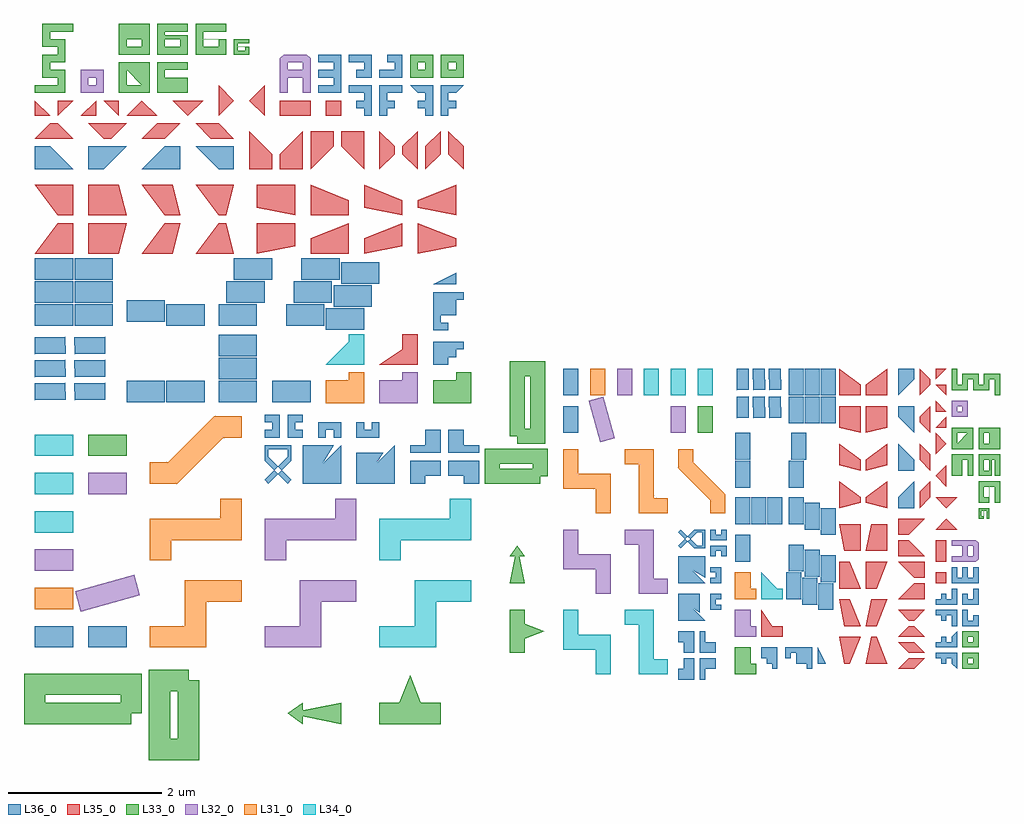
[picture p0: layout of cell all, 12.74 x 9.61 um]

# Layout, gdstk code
from math import pi, radians
import gdstk
lib = gdstk.Library(unit=1e-6, precision=1e-09)
def R(c, l, rs):  # rectangles x0, y0, x1, y1
    for r in rs: c.add(gdstk.rectangle(r[:2], r[2:], *l))
def P(c, l, *ps):  # polygons
    for p in ps: c.add(gdstk.Polygon(p, *l))
L31_0 = (31, 0)
L32_0 = (32, 0)
L33_0 = (33, 0)
L34_0 = (34, 0)
L35_0 = (35, 0)
L36_0 = (36, 0)

rectangle = lib.new_cell('rectangle')
R(rectangle, L36_0, [(0,-0.14,0.5,0.14)])

rectangle_manhattan = lib.new_cell('rectangle_manhattan')
P(rectangle_manhattan, L36_0, [(0.25,-0.14),(0.5,-0.14),(0.5,0.14),(0,0.14),(0,-0.14)])

path2_2_diagonal = lib.new_cell('path2_2_diagonal')
path2_2_diagonal.add(gdstk.FlexPath([(0.2,0),(0.7,0.14)], 0.28, ends="extended", simple_path=True, layer=32, datatype=0))  # L32_0

path2 = lib.new_cell('path2')
path2.add(gdstk.FlexPath([(0.14,0.5),(0.36,0.5)], 0.28, ends="extended", simple_path=True, layer=32, datatype=0))  # L32_0

path4 = lib.new_cell('path4')
path4.add(gdstk.FlexPath([(0.1,1),(0.36,1)], 0.28, ends=(0.1, 0.14), simple_path=True, layer=34, datatype=0))  # L34_0

path4_manhattan = lib.new_cell('path4_manhattan')
path4_manhattan.add(gdstk.FlexPath([(0.14,0),(0.2,0),(0.4,0)], 0.28, ends=(0.14, 0.1), simple_path=True, layer=33, datatype=0))  # L33_0

path4_reverse = lib.new_cell('path4_reverse')
path4_reverse.add(gdstk.FlexPath([(0.36,0),(0.1,0)], 0.28, ends=(0.14, 0.1), simple_path=True, layer=32, datatype=0))  # L32_0

path4_no_end = lib.new_cell('path4_no_end')
path4_no_end.add(gdstk.FlexPath([(0.14,1.5),(0.5,1.5)], 0.28, ends=(0.14, 0), simple_path=True, layer=34, datatype=0))  # L34_0

path4_no_bgn = lib.new_cell('path4_no_bgn')
path4_no_bgn.add(gdstk.FlexPath([(0,2),(0.36,2)], 0.28, ends=(0, 0.14), simple_path=True, layer=34, datatype=0))  # L34_0

path0_2 = lib.new_cell('path0_2')
path0_2.add(gdstk.FlexPath([(0.6,2),(1.1,2)], 0.28, ends="flush", simple_path=True, layer=31, datatype=0))  # L31_0

path4_zero_length = lib.new_cell('path4_zero_length')
path4_zero_length.add(gdstk.FlexPath([(0.14,2.5),(0.14,2.5)], 0.28, ends=(0.14, 0.36), simple_path=True, layer=34, datatype=0))  # L34_0

path2_zero_length = lib.new_cell('path2_zero_length')
path2_zero_length.add(gdstk.FlexPath([(0.14,3),(0.14,3)], 0.28, ends="extended", simple_path=True, layer=32, datatype=0))  # L32_0

path0_zero_length = lib.new_cell('path0_zero_length')
path0_zero_length.add(gdstk.FlexPath([(0.6,3),(0.6,3)], 0.28, ends="flush", simple_path=True, layer=31, datatype=0))  # L31_0

path0_3_hor = lib.new_cell('path0_3_hor')
path0_3_hor.add(gdstk.FlexPath([(0,0),(0.6,0),(0.6,0.6),(1.2,0.6)], 0.28, ends="flush", simple_path=True, layer=31, datatype=0))  # L31_0

path0_3_ver = lib.new_cell('path0_3_ver')
path0_3_ver.add(gdstk.FlexPath([(0.14,0),(0.14,0.4),(1.06,0.4),(1.06,0.8)], 0.28, ends="flush", simple_path=True, layer=31, datatype=0))  # L31_0

path0_3_dia = lib.new_cell('path0_3_dia')
path0_3_dia.add(gdstk.FlexPath([(0,0),(0.3,0),(0.9,0.6),(1.2,0.6)], 0.28, ends="flush", simple_path=True, layer=31, datatype=0))  # L31_0

path2_3_hor = lib.new_cell('path2_3_hor')
path2_3_hor.add(gdstk.FlexPath([(0.14,0),(0.6,0),(0.6,0.6),(1.06,0.6)], 0.28, ends="extended", simple_path=True, layer=32, datatype=0))  # L32_0

path2_3_ver = lib.new_cell('path2_3_ver')
path2_3_ver.add(gdstk.FlexPath([(0.14,0.14),(0.14,0.4),(1.06,0.4),(1.06,0.66)], 0.28, ends="extended", simple_path=True, layer=32, datatype=0))  # L32_0

path4_3_hor = lib.new_cell('path4_3_hor')
path4_3_hor.add(gdstk.FlexPath([(0.1,0),(0.6,0),(0.6,0.6),(1,0.6)], 0.28, ends=(0.1, 0.2), simple_path=True, layer=34, datatype=0))  # L34_0

path4_3_ver = lib.new_cell('path4_3_ver')
path4_3_ver.add(gdstk.FlexPath([(0.14,0.1),(0.14,0.4),(1.06,0.4),(1.06,0.6)], 0.28, ends=(0.1, 0.2), simple_path=True, layer=34, datatype=0))  # L34_0

aref1_2_3 = lib.new_cell('aref1_2_3')
r = gdstk.Reference(rectangle, (0,0), rotation=radians(1), magnification=0.8); r.repetition = gdstk.Repetition(2, 3, v1=(0.52,0), v2=(0,0.3)); aref1_2_3.add(r)

aref2_2_1 = lib.new_cell('aref2_2_1')
r = gdstk.Reference(rectangle, (0,0)); r.repetition = gdstk.Repetition(2, 1, v1=(0.52,0), v2=(0,-0.9)); aref2_2_1.add(r)

aref3_1_3 = lib.new_cell('aref3_1_3')
r = gdstk.Reference(rectangle, (0,0)); r.repetition = gdstk.Repetition(1, 3, v1=(-1.04,0), v2=(0,0.3)); aref3_1_3.add(r)

aref8_2_3_ortho = lib.new_cell('aref8_2_3_ortho')
r = gdstk.Reference(rectangle, (0,0)); r.repetition = gdstk.Repetition(2, 3, v1=(-0.52,0), v2=(0,0.3)); aref8_2_3_ortho.add(r)

aref9_2_1 = lib.new_cell('aref9_2_1')
r = gdstk.Reference(rectangle, (0,0)); r.repetition = gdstk.Repetition(2, 1, v1=(-0.52,0.05), v2=(0,0.9)); aref9_2_1.add(r)

aref9_1_3 = lib.new_cell('aref9_1_3')
r = gdstk.Reference(rectangle, (0,0)); r.repetition = gdstk.Repetition(1, 3, v1=(1.04,0), v2=(-0.1,-0.3)); aref9_1_3.add(r)

aref_1_1 = lib.new_cell('aref_1_1')
aref_1_1.add(gdstk.Reference(rectangle, (0,0)))

aref8_2_3 = lib.new_cell('aref8_2_3')
r = gdstk.Reference(rectangle, (0,0)); r.repetition = gdstk.Repetition(2, 3, v1=(-0.52,0.05), v2=(0.1,0.3)); aref8_2_3.add(r)

horizontal = lib.new_cell('horizontal')
P(horizontal, L31_0, [(0,0),(0.5,0),(0.5,0.4),(0.3,0.4),(0.3,0.3),(0,0.3)])

vertical = lib.new_cell('vertical')
P(vertical, L32_0, [(0,0),(0,0.3),(0.3,0.3),(0.3,0.4),(0.5,0.4),(0.5,0)])

manhattan = lib.new_cell('manhattan')
P(manhattan, L33_0, [(0,0),(0.5,0),(0.5,0.4),(0.3,0.4),(0.3,0.3),(0.1,0.3),(0,0.3)])

octangular = lib.new_cell('octangular')
P(octangular, L34_0, [(0,0),(0.5,0),(0.5,0.4),(0.3,0.4),(0.3,0.3)])

any_angle = lib.new_cell('any_angle')
P(any_angle, L35_0, [(0,0),(0.5,0),(0.5,0.4),(0.3,0.4),(0.3,0.2)])

trapezoid_vap = lib.new_cell('trapezoid_vap')
P(trapezoid_vap, L35_0, [(0,0),(0.5,0.1),(0.5,0.4),(0,0.4)])

trapezoid_vbp = lib.new_cell('trapezoid_vbp')
P(trapezoid_vbp, L35_0, [(0,0),(0.5,0),(0.5,0.4),(0,0.2)])

trapezoid_vabp = lib.new_cell('trapezoid_vabp')
P(trapezoid_vabp, L35_0, [(0,0),(0.5,0.1),(0.5,0.4),(0,0.2)])

trapezoid_vp = lib.new_cell('trapezoid_vp')
P(trapezoid_vp, L35_0, [(0,0),(0.5,0.1),(0.5,0.2),(0,0.4)])

trapezoid_van = lib.new_cell('trapezoid_van')
P(trapezoid_van, L35_0, [(0,0.1),(0.5,0),(0.5,0.4),(0,0.4)])

trapezoid_vbn = lib.new_cell('trapezoid_vbn')
P(trapezoid_vbn, L35_0, [(0,0),(0.5,0),(0.5,0.2),(0,0.4)])

trapezoid_vabn = lib.new_cell('trapezoid_vabn')
P(trapezoid_vabn, L35_0, [(0,0.1),(0.5,0),(0.5,0.2),(0,0.4)])

trapezoid_vn = lib.new_cell('trapezoid_vn')
P(trapezoid_vn, L35_0, [(0,0.1),(0.5,0),(0.5,0.4),(0,0.2)])

trapezoid_hap = lib.new_cell('trapezoid_hap')
P(trapezoid_hap, L35_0, [(0,0),(0.5,0),(0.5,0.4),(0.3,0.4)])

trapezoid_hbp = lib.new_cell('trapezoid_hbp')
P(trapezoid_hbp, L35_0, [(0,0),(0.4,0),(0.5,0.4),(0,0.4)])

trapezoid_habp = lib.new_cell('trapezoid_habp')
P(trapezoid_habp, L35_0, [(0,0),(0.4,0),(0.5,0.4),(0.3,0.4)])

trapezoid_hp = lib.new_cell('trapezoid_hp')
P(trapezoid_hp, L35_0, [(0,0),(0.5,0),(0.4,0.4),(0.3,0.4)])

trapezoid_han = lib.new_cell('trapezoid_han')
P(trapezoid_han, L35_0, [(0.3,0),(0.5,0),(0.5,0.4),(0,0.4)])

trapezoid_hbn = lib.new_cell('trapezoid_hbn')
P(trapezoid_hbn, L35_0, [(0,0),(0.5,0),(0.4,0.4),(0,0.4)])

trapezoid_habn = lib.new_cell('trapezoid_habn')
P(trapezoid_habn, L35_0, [(0.3,0),(0.5,0),(0.4,0.4),(0,0.4)])

trapezoid_hn = lib.new_cell('trapezoid_hn')
P(trapezoid_hn, L35_0, [(0.3,0),(0.4,0),(0.5,0.4),(0,0.4)])

ctrapezoid0 = lib.new_cell('ctrapezoid0')
P(ctrapezoid0, L36_0, [(0,0),(0.5,0),(0.2,0.3),(0,0.3)])

ctrapezoid1 = lib.new_cell('ctrapezoid1')
P(ctrapezoid1, L36_0, [(0,0),(0.2,0),(0.5,0.3),(0,0.3)])

ctrapezoid2 = lib.new_cell('ctrapezoid2')
P(ctrapezoid2, L36_0, [(0,0),(0.5,0),(0.5,0.3),(0.3,0.3)])

ctrapezoid3 = lib.new_cell('ctrapezoid3')
P(ctrapezoid3, L36_0, [(0.3,0),(0.5,0),(0.5,0.3),(0,0.3)])

ctrapezoid4 = lib.new_cell('ctrapezoid4')
P(ctrapezoid4, L35_0, [(0,0),(0.5,0),(0.3,0.2),(0.2,0.2)])

ctrapezoid5 = lib.new_cell('ctrapezoid5')
P(ctrapezoid5, L35_0, [(0.2,0),(0.3,0),(0.5,0.2),(0,0.2)])

ctrapezoid6 = lib.new_cell('ctrapezoid6')
P(ctrapezoid6, L35_0, [(0,0),(0.3,0),(0.5,0.2),(0.2,0.2)])

ctrapezoid7 = lib.new_cell('ctrapezoid7')
P(ctrapezoid7, L35_0, [(0.2,0),(0.5,0),(0.3,0.2),(0,0.2)])

ctrapezoid8 = lib.new_cell('ctrapezoid8')
P(ctrapezoid8, L35_0, [(0,0),(0.3,0),(0.3,0.2),(0,0.5)])

ctrapezoid9 = lib.new_cell('ctrapezoid9')
P(ctrapezoid9, L35_0, [(0,0),(0.3,0),(0.3,0.5),(0,0.2)])

ctrapezoid10 = lib.new_cell('ctrapezoid10')
P(ctrapezoid10, L35_0, [(0,0),(0.3,0.3),(0.3,0.5),(0,0.5)])

ctrapezoid11 = lib.new_cell('ctrapezoid11')
P(ctrapezoid11, L35_0, [(0.3,0),(0.3,0.5),(0,0.5),(0,0.3)])

ctrapezoid12 = lib.new_cell('ctrapezoid12')
P(ctrapezoid12, L35_0, [(0,0),(0.2,0.2),(0.2,0.3),(0,0.5)])

ctrapezoid13 = lib.new_cell('ctrapezoid13')
P(ctrapezoid13, L35_0, [(0.2,0),(0.2,0.5),(0,0.3),(0,0.2)])

ctrapezoid14 = lib.new_cell('ctrapezoid14')
P(ctrapezoid14, L35_0, [(0,0),(0.2,0.2),(0.2,0.5),(0,0.3)])

ctrapezoid15 = lib.new_cell('ctrapezoid15')
P(ctrapezoid15, L35_0, [(0.2,0),(0.2,0.3),(0,0.5),(0,0.2)])

ctrapezoid16 = lib.new_cell('ctrapezoid16')
P(ctrapezoid16, L35_0, [(0,0),(0.2,0),(0,0.2)])

ctrapezoid17 = lib.new_cell('ctrapezoid17')
P(ctrapezoid17, L35_0, [(0,0),(0.2,0.2),(0,0.2)])

ctrapezoid18 = lib.new_cell('ctrapezoid18')
P(ctrapezoid18, L35_0, [(0,0),(0.2,0),(0.2,0.2)])

ctrapezoid19 = lib.new_cell('ctrapezoid19')
P(ctrapezoid19, L35_0, [(0.2,0),(0.2,0.2),(0,0.2)])

ctrapezoid20 = lib.new_cell('ctrapezoid20')
P(ctrapezoid20, L35_0, [(0,0),(0.4,0),(0.2,0.2)])

ctrapezoid21 = lib.new_cell('ctrapezoid21')
P(ctrapezoid21, L35_0, [(0,0.2),(0.2,0),(0.4,0.2)])

ctrapezoid22 = lib.new_cell('ctrapezoid22')
P(ctrapezoid22, L35_0, [(0,0),(0.2,0.2),(0,0.4)])

ctrapezoid23 = lib.new_cell('ctrapezoid23')
P(ctrapezoid23, L35_0, [(0.2,0),(0.2,0.4),(0,0.2)])

ctrapezoid24 = lib.new_cell('ctrapezoid24')
R(ctrapezoid24, L35_0, [(0,0,0.4,0.2)])

ctrapezoid25 = lib.new_cell('ctrapezoid25')
R(ctrapezoid25, L35_0, [(0,0,0.2,0.2)])

empty = lib.new_cell('empty')

polygon = lib.new_cell('polygon')
P(polygon, L36_0, [(0,0.05),(0.05,0),(0.35,0.3),(0.35,0.5),(0,0.5),(0,0.3),(0.3,0),(0.35,0.05),(0.05,0.35),(0.05,0.45),(0.3,0.45),(0.3,0.35)])

polygon_angle = lib.new_cell('polygon_angle')
P(polygon_angle, L36_0, [(0,0),(0.5,0),(0.5,0.5),(0.25,0.25),(0.4,0.5),(0,0.5)])

polygon_angle1 = lib.new_cell('polygon_angle1')
P(polygon_angle1, L36_0, [(0,0),(0.5,0),(0.5,0.5),(0.25,0.25),(0.35,0.4),(0,0.4)])

bottom_left_l = lib.new_cell('bottom_left_l')
P(bottom_left_l, L36_0, [(0,0),(0.4,0),(0.4,0.3),(0.2,0.3),(0.2,0.1),(0,0.1)])

bottom_right_l = lib.new_cell('bottom_right_l')
P(bottom_right_l, L36_0, [(0,0),(0.4,0),(0.4,0.1),(0.2,0.1),(0.2,0.3),(0,0.3)])

top_left_l = lib.new_cell('top_left_l')
P(top_left_l, L36_0, [(0,0),(0.2,0),(0.2,0.1),(0.4,0.1),(0.4,0.3),(0,0.3)])

top_right_l = lib.new_cell('top_right_l')
P(top_right_l, L36_0, [(0,0.1),(0.2,0.1),(0.2,0),(0.4,0),(0.4,0.3),(0,0.3)])

top_right_l2 = lib.new_cell('top_right_l2')
P(top_right_l2, L36_0, [(0,0),(0.2,0),(0.2,0.1),(0.3,0.1),(0.3,0.2),(0.4,0.2),(0.4,0.3),(0,0.3)])

top_stair = lib.new_cell('top_stair')
P(top_stair, L36_0, [(0,0),(0.2,0),(0.2,0.1),(0.1,0.1),(0.1,0.2),(0.3,0.2),(0.3,0.3),(0.3,0.4),(0.4,0.4),(0.4,0.5),(0,0.5)])

u_left = lib.new_cell('u_left')
P(u_left, L36_0, [(0,0),(0.2,0),(0.2,0.3),(0,0.3),(0,0.2),(0.1,0.2),(0.1,0.1),(0,0.1)])

u_right = lib.new_cell('u_right')
P(u_right, L36_0, [(0,0),(0.2,0),(0.2,0.1),(0.1,0.1),(0.1,0.2),(0.2,0.2),(0.2,0.3),(0,0.3)])

u_bottom = lib.new_cell('u_bottom')
P(u_bottom, L36_0, [(0,0),(0.1,0),(0.1,0.1),(0.2,0.1),(0.2,0),(0.3,0),(0.3,0.2),(0,0.2)])

u_top = lib.new_cell('u_top')
P(u_top, L36_0, [(0,0),(0.3,0),(0.3,0.2),(0.2,0.2),(0.2,0.1),(0.1,0.1),(0.1,0.2),(0,0.2)])

triangle = lib.new_cell('triangle')
P(triangle, L36_0, [(0.2,0.1),(0.5,0.1),(0.5,0.25)])

f_left = lib.new_cell('f_left')
P(f_left, L36_0, [(0.2,0),(0.2,0.1),(0.1,0.1),(0.1,0.2),(0.2,0.2),(0.2,0.3),(0,0.3),(0,0.4),(0.3,0.4),(0.3,0)])

f_right = lib.new_cell('f_right')
P(f_right, L36_0, [(0,0),(0.1,0),(0.1,0.1),(0.2,0.1),(0.2,0.2),(0.1,0.2),(0.1,0.3),(0.3,0.3),(0.3,0.4),(0,0.4)])

ff_left = lib.new_cell('ff_left')
P(ff_left, L36_0, [(0.2,0),(0.2,0.1),(0.1,0.1),(0.1,0.2),(0.2,0.2),(0.2,0.3),(0.1,0.3),(0,0.4),(0.3,0.4),(0.3,0)])

ff_right = lib.new_cell('ff_right')
P(ff_right, L36_0, [(0,0),(0.1,0),(0.1,0.1),(0.2,0.1),(0.2,0.2),(0.1,0.2),(0.1,0.3),(0.2,0.3),(0.3,0.4),(0,0.4)])

uu_left = lib.new_cell('uu_left')
P(uu_left, L36_0, [(0.1,0),(0.3,0),(0.3,0.3),(0,0.3),(0,0.2),(0.2,0.2),(0.2,0.1),(0.1,0.1)])

uuu_left = lib.new_cell('uuu_left')
P(uuu_left, L36_0, [(0,0),(0.3,0),(0.3,0.3),(0.1,0.3),(0.1,0.2),(0.2,0.2),(0.2,0.1),(0,0.1)])

e_left = lib.new_cell('e_left')
P(e_left, L36_0, [(0.2,0.4),(0,0.4),(0,0.5),(0.3,0.5),(0.3,0),(0,0),(0,0.1),(0.2,0.1),(0.2,0.2),(0,0.2),(0,0.3),(0.2,0.3)])

c_a = lib.new_cell('A')
P(c_a, L32_0, [(0.3,0),(0.3,0.2),(0.1,0.2),(0.1,0),(0,0),(0,0.45),(0.05,0.5),(0.3,0.5),(0.3,0.4),(0.1,0.4),(0.1,0.3),(0.3,0.3),(0.3,0.5),(0.35,0.5),(0.4,0.45),(0.4,0)])

horizontal_b_hole = lib.new_cell('horizontal_b_hole')
P(horizontal_b_hole, L33_0, [(0,0),(0.3,0),(0.3,0.3),(0,0.3),(0,0.1),(0.1,0.1),(0.1,0.2),(0.2,0.2),(0.2,0.1),(0,0.1)])

horizontal_t_hole = lib.new_cell('horizontal_t_hole')
P(horizontal_t_hole, L33_0, [(0,0),(0.3,0),(0.3,0.3),(0,0.3),(0,0.2),(0.2,0.2),(0.2,0.1),(0.1,0.1),(0.1,0.2),(0,0.2)])

meander = lib.new_cell('meander')
P(meander, L33_0, [(0,0),(0.4,0),(0.4,0.3),(0.2,0.3),(0.2,0.4),(0.4,0.4),(0.4,0.7),(0.2,0.7),(0.2,0.8),(0.5,0.8),(0.5,0.9),(0.1,0.9),(0.1,0.6),(0.3,0.6),(0.3,0.5),(0.1,0.5),(0.1,0.2),(0.3,0.2),(0.3,0.1),(0,0.1)])

horizontal_m_hole = lib.new_cell('horizontal_m_hole')
P(horizontal_m_hole, L32_0, [(0,0),(0.3,0),(0.3,0.3),(0,0.3),(0,0.15),(0.1,0.15),(0.1,0.2),(0.2,0.2),(0.2,0.1),(0.1,0.1),(0.1,0.15),(0,0.15)])

g_right = lib.new_cell('g_right')
P(g_right, L33_0, [(0,0),(0.4,0),(0.4,0.3),(0.1,0.3),(0.3,0.1),(0.1,0.1),(0.1,0.3),(0.4,0.3),(0.4,0.4),(0,0.4)])

g_right1 = lib.new_cell('g_right1')
P(g_right1, L33_0, [(0,0),(0.4,0),(0.4,0.2),(0.1,0.2),(0.1,0.1),(0.2,0.1),(0.2,0.1),(0.1,0.1),(0.1,0.3),(0.4,0.3),(0.4,0.4),(0,0.4)])

g_right2 = lib.new_cell('g_right2')
P(g_right2, L33_0, [(0,0),(0.4,0),(0.4,0.3),(0.1,0.3),(0.1,0.2),(0.3,0.2),(0.3,0.1),(0.1,0.1),(0.1,0.3),(0.4,0.3),(0.4,0.4),(0,0.4)])

g_right3 = lib.new_cell('g_right3')
P(g_right3, L33_0, [(0,0),(0.4,0),(0.4,0.25),(0.1,0.25),(0.1,0.2),(0.3,0.2),(0.3,0.1),(0.1,0.1),(0.1,0.3),(0.4,0.3),(0.4,0.4),(0,0.4)])

g_right4 = lib.new_cell('g_right4')
P(g_right4, L33_0, [(0,0),(0.4,0),(0.4,0.2),(0.1,0.2),(0.1,0.2),(0.3,0.2),(0.3,0.1),(0.1,0.1),(0.1,0.3),(0.4,0.3),(0.4,0.4),(0,0.4)])

colinear1 = lib.new_cell('colinear1')
colinear1.add(gdstk.FlexPath([(0.38,0.43),(0,0.43),(0,-0.47),(0.38,-0.47),(0.38,0.05),(0.38,0.05),(0.38,0.43)], 0.28, ends="flush", simple_path=True, layer=33, datatype=0))  # L33_0

colinear2 = lib.new_cell('colinear2')
colinear2.add(gdstk.FlexPath([(0,0),(-0.2,0),(0.5,0)], 0.28, ends="flush", simple_path=True, layer=33, datatype=0))  # L33_0

colinear3 = lib.new_cell('colinear3')
colinear3.add(gdstk.FlexPath([(0,0),(0.4,0),(0.4,0.5),(0.4,0),(0.8,0)], 0.28, ends="flush", simple_path=True, layer=33, datatype=0))  # L33_0

colinear4 = lib.new_cell('colinear4')
colinear4.add(gdstk.FlexPath([(1.26,0),(1.26,0.38),(0,0.38),(0,0),(0.4,0),(0.4,0),(0.88,0),(0.88,0),(1.26,0)], 0.28, ends="flush", simple_path=True, layer=33, datatype=0))  # L33_0

test = lib.new_cell('test')
test.add(gdstk.Reference(rectangle, (0,0)))
test.add(gdstk.Reference(rectangle_manhattan, (0.7,0)))
test.add(gdstk.Reference(path2_2_diagonal, (0.5,0.5)))
test.add(gdstk.Reference(path2, (0,0.5)))
test.add(gdstk.Reference(path4, (0,0.5)))
test.add(gdstk.Reference(path4_manhattan, (0.7,2.5)))
test.add(gdstk.Reference(path4_reverse, (0.7,2)))
test.add(gdstk.Reference(path4_no_end, (0,0.5)))
test.add(gdstk.Reference(path4_no_bgn, (0,0.5)))
test.add(gdstk.Reference(path0_2, (-0.6,-1.5)))
test.add(gdstk.Reference(path4_zero_length, (0.7,-1)))
test.add(gdstk.Reference(path2_zero_length, (0.7,-2)))
test.add(gdstk.Reference(path0_zero_length, (0,-3)))
test.add(gdstk.Reference(path0_3_hor, (1.5,0)))
test.add(gdstk.Reference(path0_3_ver, (1.5,1)))
test.add(gdstk.Reference(path0_3_dia, (1.5,2.14)))
test.add(gdstk.Reference(path2_3_hor, (3,0)))
test.add(gdstk.Reference(path2_3_ver, (3,1)))
test.add(gdstk.Reference(path4_3_hor, (4.5,0)))
test.add(gdstk.Reference(path4_3_ver, (4.5,1)))
test.add(gdstk.Reference(aref1_2_3, (0,3.2)))
test.add(gdstk.Reference(aref2_2_1, (1.2,3.2)))
test.add(gdstk.Reference(aref3_1_3, (2.4,3.2)))
test.add(gdstk.Reference(aref8_2_3_ortho, (0.52,4.2)))
test.add(gdstk.Reference(aref9_2_1, (1.72,4.2)))
test.add(gdstk.Reference(aref9_1_3, (2.6,4.8)))
test.add(gdstk.Reference(aref_1_1, (3.1,3.2)))
test.add(gdstk.Reference(aref8_2_3, (3.8,4.15)))
test.add(gdstk.Reference(horizontal, (3.8,3.05)))
test.add(gdstk.Reference(vertical, (4.5,3.05)))
test.add(gdstk.Reference(manhattan, (5.2,3.05)))
test.add(gdstk.Reference(octangular, (3.8,3.55)))
test.add(gdstk.Reference(any_angle, (4.5,3.55)))
test.add(gdstk.Reference(trapezoid_vap, (2.9,5)))
test.add(gdstk.Reference(trapezoid_vbp, (3.6,5)))
test.add(gdstk.Reference(trapezoid_vabp, (4.3,5)))
test.add(gdstk.Reference(trapezoid_vp, (5,5)))
test.add(gdstk.Reference(trapezoid_van, (2.9,5.5)))
test.add(gdstk.Reference(trapezoid_vbn, (3.6,5.5)))
test.add(gdstk.Reference(trapezoid_vabn, (4.3,5.5)))
test.add(gdstk.Reference(trapezoid_vn, (5,5.5)))
test.add(gdstk.Reference(trapezoid_hap, (0,5)))
test.add(gdstk.Reference(trapezoid_hbp, (0.7,5)))
test.add(gdstk.Reference(trapezoid_habp, (1.4,5)))
test.add(gdstk.Reference(trapezoid_hp, (2.1,5)))
test.add(gdstk.Reference(trapezoid_han, (0,5.5)))
test.add(gdstk.Reference(trapezoid_hbn, (0.7,5.5)))
test.add(gdstk.Reference(trapezoid_habn, (1.4,5.5)))
test.add(gdstk.Reference(trapezoid_hn, (2.1,5.5)))
test.add(gdstk.Reference(ctrapezoid0, (0,6.1)))
test.add(gdstk.Reference(ctrapezoid1, (0.7,6.1)))
test.add(gdstk.Reference(ctrapezoid2, (1.4,6.1)))
test.add(gdstk.Reference(ctrapezoid3, (2.1,6.1)))
test.add(gdstk.Reference(ctrapezoid4, (0,6.5)))
test.add(gdstk.Reference(ctrapezoid5, (0.7,6.5)))
test.add(gdstk.Reference(ctrapezoid6, (1.4,6.5)))
test.add(gdstk.Reference(ctrapezoid7, (2.1,6.5)))
test.add(gdstk.Reference(ctrapezoid8, (2.8,6.1)))
test.add(gdstk.Reference(ctrapezoid9, (3.2,6.1)))
test.add(gdstk.Reference(ctrapezoid10, (3.6,6.1)))
test.add(gdstk.Reference(ctrapezoid11, (4,6.1)))
test.add(gdstk.Reference(ctrapezoid12, (4.5,6.1)))
test.add(gdstk.Reference(ctrapezoid13, (4.8,6.1)))
test.add(gdstk.Reference(ctrapezoid14, (5.1,6.1)))
test.add(gdstk.Reference(ctrapezoid15, (5.4,6.1)))
test.add(gdstk.Reference(ctrapezoid16, (0,6.8)))
test.add(gdstk.Reference(ctrapezoid17, (0.3,6.8)))
test.add(gdstk.Reference(ctrapezoid18, (0.6,6.8)))
test.add(gdstk.Reference(ctrapezoid19, (0.9,6.8)))
test.add(gdstk.Reference(ctrapezoid20, (1.2,6.8)))
test.add(gdstk.Reference(ctrapezoid21, (1.8,6.8)))
test.add(gdstk.Reference(ctrapezoid22, (2.4,6.8)))
test.add(gdstk.Reference(ctrapezoid23, (2.8,6.8)))
test.add(gdstk.Reference(ctrapezoid24, (3.2,6.8)))
test.add(gdstk.Reference(ctrapezoid25, (3.8,6.8)))
test.add(gdstk.Reference(empty, (4,6.8)))
test.add(gdstk.Reference(polygon, (3,2)))
test.add(gdstk.Reference(polygon_angle, (3.5,2)))
test.add(gdstk.Reference(polygon_angle1, (4.2,2)))
test.add(gdstk.Reference(bottom_left_l, (4.9,2.4)))
test.add(gdstk.Reference(bottom_right_l, (5.4,2.4)))
test.add(gdstk.Reference(top_left_l, (4.9,2)))
test.add(gdstk.Reference(top_right_l, (5.4,2)))
test.add(gdstk.Reference(top_right_l2, (5.2,3.55)))
test.add(gdstk.Reference(top_stair, (5.2,4)))
test.add(gdstk.Reference(u_left, (3,2.6)))
test.add(gdstk.Reference(u_right, (3.3,2.6)))
test.add(gdstk.Reference(u_bottom, (3.7,2.6)))
test.add(gdstk.Reference(u_top, (4.2,2.6)))
test.add(gdstk.Reference(triangle, (5,4.5)))
test.add(gdstk.Reference(f_left, (4.1,6.8)))
test.add(gdstk.Reference(f_right, (4.5,6.8)))
test.add(gdstk.Reference(ff_left, (4.9,6.8)))
test.add(gdstk.Reference(ff_right, (5.3,6.8)))
test.add(gdstk.Reference(uu_left, (4.1,7.3)))
test.add(gdstk.Reference(uuu_left, (4.5,7.3)))
test.add(gdstk.Reference(e_left, (3.7,7.1)))
test.add(gdstk.Reference(c_a, (3.2,7.1)))
test.add(gdstk.Reference(horizontal_b_hole, (4.9,7.3)))
test.add(gdstk.Reference(horizontal_t_hole, (5.3,7.3)))
test.add(gdstk.Reference(meander, (0,7.1)))
test.add(gdstk.Reference(horizontal_m_hole, (0.6,7.1)))
test.add(gdstk.Reference(g_right, (1.1,7.1)))
test.add(gdstk.Reference(g_right1, (1.6,7.1)))
test.add(gdstk.Reference(g_right2, (1.1,7.6)))
test.add(gdstk.Reference(g_right3, (1.6,7.6)))
test.add(gdstk.Reference(g_right4, (2.1,7.6)))
test.add(gdstk.Reference(g_right4, (2.6,7.6), magnification=0.5))
test.add(gdstk.Reference(colinear1, (1.63,-1)))
test.add(gdstk.Reference(colinear2, (3.5,-1)))
test.add(gdstk.Reference(colinear3, (4.5,-1)))
test.add(gdstk.Reference(colinear4, (0,-1)))
test.add(gdstk.Label('TEXT', (0,0), layer=30, texttype=0))

all = lib.new_cell('all')
all.add(gdstk.Reference(test, (0,0)))
all.add(gdstk.Reference(test, (7,3.5), rotation=3*pi/2, magnification=0.7))

lib.write_gds('all.gds')
